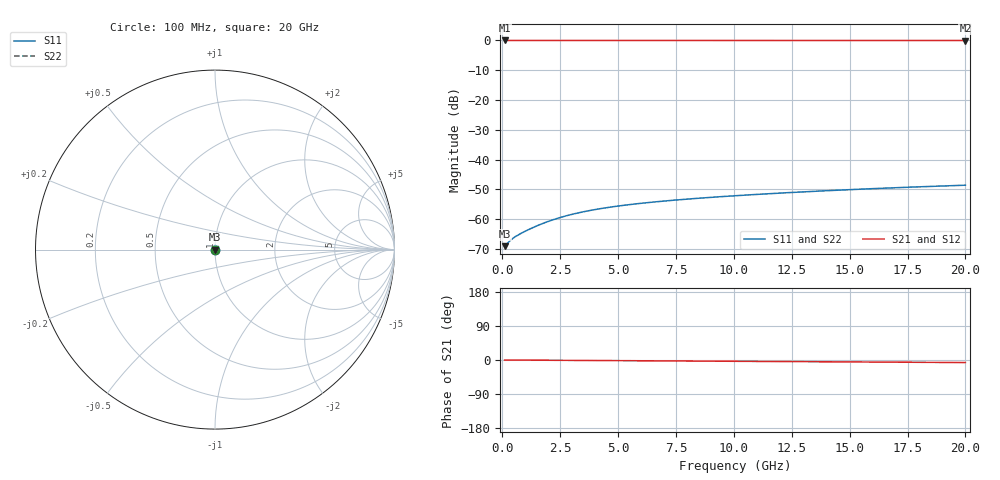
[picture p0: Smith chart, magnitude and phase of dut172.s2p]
! Touchstone file exported from HFSS 2026.1.0
!  File:  C:/ffzhzh/LocalFiles/Ansys_Project_Files/temp_train_TSV_172_1782991077_41620.aedt
!  Generated:  07:19:30 PM Jul  2, 2026
!  Design:  TSV
!  Project:  temp_train_TSV_172_1782991077_41620
! Variables:
!  h_bsmrdl = 2um
!  h_ox = 20um
!  h_rdl = 5um
!  h_sub = 71.1um
!  h_tmrdl = 5um
!  h_tsv = 71.1um
!  h_via = 3um
!  l_bsmrdl = 300um
!  l_sub = 410.32um
!  l_tmrdl = 200um
!  m_sub = 200um
!  pitch = 21.84um
!  r_tsv = 5.16um
!  s_tmrdl = 10um
!  w_bsmrdl = 18um
!  w_sub = 500um
!  w_tmrdl = 12um
!  x_tsv_center1 = 206um
!  x_tsv_center2 = 524um
!  x_tsv_center3 = 736um
!  x_tsv_center4 = 1054um
!  x_tsv_center5 = 1266um
!  x_tsv_center6 = 1584um
# GHz S MA R 50.000000
! Terminal data exported
! Port[1] = TSV1_1_T1
! Port[2] = TSV1_1_T2
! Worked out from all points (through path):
!   200 points, 100 MHz to 20 GHz, reference 50 ohm
!   highest |S21| = 0.00 dB at 100 MHz (marker M1); lowest = 0.0 dB at 20 GHz (marker M2)
!   lowest |S11| = -69.1 dB at 100 MHz (marker M3), VSWR 1.00, Z = 50 + j0.00655 ohm
!   |S11| at or under -10 dB: start of sweep to end of sweep
!   |S22| runs from -69.1 to -48.6 dB; largest |S21 - S12| = 3.8e-15
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0.1  0.0003506 10.8  0.9997 -0.0  0.9997 -0.0  0.0003506 10.8
! Gamma 0 0 0 0
! Port Impedance 50 0 50 0
0.3  0.0004208 23.5  0.9996 -0.1  0.9996 -0.1  0.0004208 23.5
0.4  0.0004558 26.9  0.9996 -0.1  0.9996 -0.1  0.0004558 26.9
0.5  0.0004875 29.5  0.9996 -0.2  0.9996 -0.2  0.0004875 29.5
0.6  0.0005168 31.8  0.9996 -0.2  0.9996 -0.2  0.0005168 31.8
0.9  0.0005998 37.4  0.9995 -0.3  0.9995 -0.3  0.0005998 37.4
1.1  0.0006556 40.4  0.9995 -0.4  0.9995 -0.4  0.0006556 40.4
1.4  0.0007417 44.0  0.9994 -0.5  0.9994 -0.5  0.0007417 44.0
1.9  0.0008887 47.8  0.9994 -0.7  0.9994 -0.7  0.0008887 47.8
2.4  0.001034 49.7  0.9993 -0.8  0.9993 -0.8  0.001034 49.7
2.9  0.001172 50.7  0.9993 -1.0  0.9993 -1.0  0.001172 50.7
3.5  0.001325 51.1  0.9992 -1.2  0.9992 -1.2  0.001325 51.1
4.2  0.001488 51.1  0.9991 -1.4  0.9991 -1.4  0.001488 51.1
4.9  0.001635 51.0  0.999 -1.7  0.999 -1.7  0.001635 51.0
5.8  0.001806 50.7  0.9989 -2.0  0.9989 -2.0  0.001806 50.7
6.8  0.001977 50.6  0.9988 -2.3  0.9988 -2.3  0.001977 50.6
8.3  0.002211 50.5  0.9987 -2.8  0.9987 -2.8  0.002211 50.5
10.1  0.002472 50.6  0.9985 -3.4  0.9985 -3.4  0.002472 50.6
11.7  0.002692 50.6  0.9984 -4.0  0.9984 -4.0  0.002692 50.6
13.4  0.002916 50.6  0.9983 -4.5  0.9983 -4.5  0.002916 50.6
16.7  0.003328 50.2  0.9981 -5.6  0.9981 -5.6  0.003328 50.2
20  0.003705 49.6  0.9979 -6.7  0.9979 -6.7  0.003704 49.6
